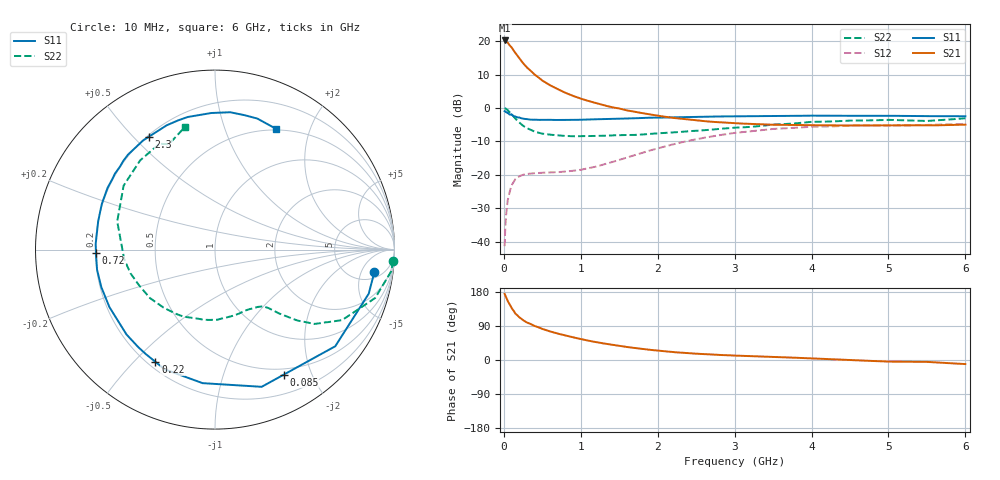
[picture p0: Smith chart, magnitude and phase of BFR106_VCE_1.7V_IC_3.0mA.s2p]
! Infineon Technologies  Discrete & RF Semiconductors
! BFR106
! VCE =  1.7 V,  IC =  3.0 mA
! Common Emitter S-Parameters:  Nov 2015
# GHz  S  MA  R  50
!  f  S11  S21  S12  S22
! GHz  MAG  ANG  MAG  ANG  MAG  ANG  MAG  ANG
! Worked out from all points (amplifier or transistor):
!   210 points, 10 MHz to 6 GHz, reference 50 ohm
!   highest |S21| = 20.2 dB at 10 MHz (marker M1)
!   |S21| within 3 dB of that: start of sweep to 127.2 MHz
!   unconditionally stable (mu >= 1): 701.1 MHz to 2.315 GHz; 3.252 GHz to end of sweep
!   at 185 MHz: K = 0.29, MSG = 18.0 dB, |S12| = -20.7 dB
!   at 1.52 GHz: K = 1.20, MAG = 4.8 dB, |S12| = -15.4 dB
!   at 6 GHz: K = 1.02, MAG = -1.1 dB, |S12| = -4.7 dB
!   S11 on the Smith chart (normalised r, x): 10 MHz: 7, -9; 85 MHz: 0.42, -1.61; 220 MHz: 0.23, -0.58; 720 MHz: 0.20, -0.01; 2.3 GHz: 0.21, +0.56; 6 GHz: 0.48, +1.51
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0.01  0.8966 -8.0  10.25 174.4  0.0086 86.8  0.9948 -3.6
0.02  0.8911 -16.0  10.22 170.1  0.0173 80.4  0.9888 -7.1
0.05  0.8596 -38.8  9.528 155.5  0.0413 69.4  0.9322 -16.8
0.085  0.7951 -61.2  8.428 143.3  0.0609 57.5  0.8423 -25.0
0.1  0.8075 -71.2  8.095 137.2  0.0698 54.5  0.8098 -29.0
0.15  0.7473 -95.3  6.665 122.5  0.0864 43.3  0.6929 -36.7
0.2  0.7235 -112.8  5.578 112.9  0.0952 37.1  0.6083 -40.6
0.22  0.7079 -118.0  5.209 110.0  0.0973 35.2  0.582 -41.6
0.26  0.6916 -128.1  4.555 103.8  0.1011 32.0  0.5346 -43.5
0.3  0.6832 -136.2  4.05 99.0  0.1033 30.1  0.5016 -45.0
0.4  0.6699 -151.4  3.172 89.7  0.1064 28.0  0.4438 -47.4
0.5  0.667 -161.8  2.58 82.0  0.1076 27.8  0.4142 -49.7
0.6  0.6666 -170.3  2.194 75.4  0.109 29.1  0.4001 -52.7
0.72  0.6632 -178.3  1.868 68.7  0.1104 31.9  0.3891 -57.2
1.02  0.6699 165.7  1.36 54.5  0.1207 42.1  0.3808 -69.6
1.4  0.6903 150.2  1.032 40.5  0.1545 53.7  0.3911 -88.3
2.02  0.7194 128.8  0.762 24.3  0.253 56.7  0.419 -122.0
2.3  0.729 120.2  0.693 19.4  0.3052 53.5  0.4397 -137.6
3.1  0.7538 99.6  0.586 11.0  0.436 38.3  0.5139 -178.8
4.1  0.7686 82.5  0.551 3.4  0.5275 18.2  0.6235 141.9
5.1  0.7647 71.1  0.549 -4.4  0.5529 3.3  0.6606 116.9
6  0.7541 63.4  0.565 -10.7  0.5805 -6.7  0.7032 103.8
